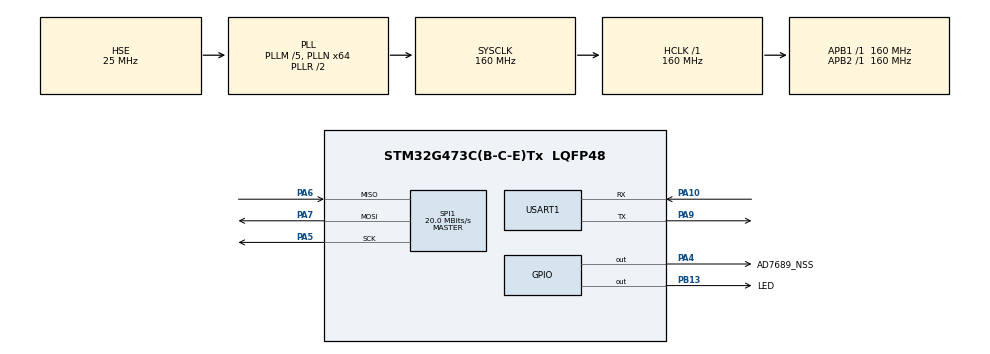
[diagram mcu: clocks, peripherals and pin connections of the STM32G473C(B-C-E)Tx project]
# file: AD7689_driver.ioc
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Mcu.Family=STM32G4
Mcu.Name=STM32G473C(B-C-E)Tx
Mcu.Package=LQFP48
NVIC.PriorityGroup=NVIC_PRIORITYGROUP_4
NVIC.SPI1_IRQn=true\:0\:0\:false\:false\:true\:true\:true\:true
NVIC.TIM6_DAC_IRQn=true\:0\:0\:false\:false\:true\:true\:true\:true
NVIC.USART1_IRQn=true\:0\:0\:false\:false\:true\:true\:true\:true
PA10.Mode=Asynchronous
PA10.Signal=USART1_RX
PA13.Mode=Serial_Wire
PA13.Signal=SYS_JTMS-SWDIO
PA14.Mode=Serial_Wire
PA14.Signal=SYS_JTCK-SWCLK
PA4.GPIO_Label=AD7689_NSS
PA4.GPIO_ModeDefaultOutputPP=GPIO_MODE_OUTPUT_PP
PA4.GPIO_PuPd=GPIO_PULLUP
PA4.GPIO_Speed=GPIO_SPEED_FREQ_VERY_HIGH
PA4.PinState=GPIO_PIN_SET
PA4.Signal=GPIO_Output
PA5.Mode=Full_Duplex_Master
PA5.Signal=SPI1_SCK
PA6.GPIO_PuPd=GPIO_PULLUP
PA6.Mode=Full_Duplex_Master
PA6.Signal=SPI1_MISO
PA7.GPIO_PuPd=GPIO_PULLUP
PA7.Mode=Full_Duplex_Master
PA7.Signal=SPI1_MOSI
PA9.Mode=Asynchronous
PA9.Signal=USART1_TX
PB13.GPIO_Label=LED
PB13.Signal=GPIO_Output
PF0-OSC_IN.Mode=HSE-External-Oscillator
PF0-OSC_IN.Signal=RCC_OSC_IN
PF1-OSC_OUT.Mode=HSE-External-Oscillator
PF1-OSC_OUT.Signal=RCC_OSC_OUT
ProjectManager.HeapSize=0x200
ProjectManager.StackSize=0x400
ProjectManager.TargetToolchain=STM32CubeIDE
RCC.ADC12Freq_Value=160000000
RCC.ADC345Freq_Value=160000000
RCC.AHBFreq_Value=160000000
RCC.APB1Freq_Value=160000000
RCC.APB1TimFreq_Value=160000000
RCC.APB2Freq_Value=160000000
RCC.APB2TimFreq_Value=160000000
RCC.CortexFreq_Value=160000000
RCC.EXTERNAL_CLOCK_VALUE=12288000
RCC.HCLKFreq_Value=160000000
RCC.HSE_VALUE=25000000
RCC.HSI48_VALUE=48000000
RCC.HSI_VALUE=16000000
RCC.LSE_VALUE=32768
RCC.PLLM=RCC_PLLM_DIV5
RCC.PLLN=64
RCC.PLLSourceVirtual=RCC_PLLSOURCE_HSE
RCC.SYSCLKFreq_VALUE=160000000
RCC.SYSCLKSource=RCC_SYSCLKSOURCE_PLLCLK
RCC.USBFreq_Value=160000000
RCC.VCOOutputFreq_Value=320000000
SPI1.BaudRatePrescaler=SPI_BAUDRATEPRESCALER_8
SPI1.CLKPhase=SPI_PHASE_1EDGE
SPI1.CLKPolarity=SPI_POLARITY_LOW
SPI1.CalculateBaudRate=20.0 MBits/s
SPI1.DataSize=SPI_DATASIZE_16BIT
SPI1.Direction=SPI_DIRECTION_2LINES
SPI1.FirstBit=SPI_FIRSTBIT_MSB
SPI1.Mode=SPI_MODE_MASTER
SPI1.NSSPMode=SPI_NSS_PULSE_ENABLE
SPI1.TIMode=SPI_TIMODE_DISABLE
SPI1.VirtualType=VM_MASTER
TIM6.PeriodNoDither=1000-1
TIM6.Prescaler=160-1
USART1.VirtualMode-Asynchronous=VM_ASYNC
VP_SYS_VS_DBSignals.Mode=DisableDeadBatterySignals
VP_TIM6_VS_ClockSourceINT.Mode=Enable_Timer
board=custom

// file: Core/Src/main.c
/* USER CODE BEGIN Header */
/**
  ******************************************************************************
  * @file           : main.c
  * @brief          : Main program body
  ******************************************************************************
  * @attention
  *
  * Copyright (c) 2026 STMicroelectronics.
  * All rights reserved.
  *
  * This software is licensed under terms that can be found in the LICENSE file
  * in the root directory of this software component.
  * If no LICENSE file comes with this software, it is provided AS-IS.
  *
  ******************************************************************************
  */
/* USER CODE END Header */
#include "main.h"
#include "spi.h"
#include "tim.h"
#include "usart.h"
#include "gpio.h"

/* USER CODE BEGIN Includes */
#include "../../../../AD7689/AD7689.h"
#include <stdio.h>
/* USER CODE END Includes */

/* USER CODE BEGIN PV */
AD7689_t chip = {
    .nss_mode = NSS_SOFTWARE,
    .spi = &hspi1,
    .nss_port = AD7689_NSS_GPIO_Port,
    .nss_pin = AD7689_NSS_Pin
};

HAL_StatusTypeDef status = HAL_OK;
uint8_t txbuff[2] = {0xE4, 0xF1}, rxbuff[16] = {0,};
uint16_t results[8] = {0,};
uint8_t uart_buff[16] = {0,};
/* USER CODE END PV */

void SystemClock_Config(void);
/* USER CODE BEGIN PFP */
void HeartbeatLED_Update();
/* USER CODE END PFP */

int main(void)
{

  /* MCU Configuration--------------------------------------------------------*/

  /* Reset of all peripherals, Initializes the Flash interface and the Systick. */
  HAL_Init();

  /* Configure the system clock */
  SystemClock_Config();

  /* Initialize all configured peripherals */
  MX_GPIO_Init();
  MX_SPI1_Init();
  MX_TIM6_Init();
  MX_USART1_UART_Init();
  /* USER CODE BEGIN 2 */
  HAL_Delay(10);
  AD7689_Init(&chip);
  HAL_TIM_Base_Start_IT(&htim6);

  /* USER CODE END 2 */

  /* Infinite loop */
  /* USER CODE BEGIN WHILE */
  while (1)
  {
	  HeartbeatLED_Update();
    /* USER CODE END WHILE */

  }
}

void SystemClock_Config(void)
{
  RCC_OscInitTypeDef RCC_OscInitStruct = {0};
  RCC_ClkInitTypeDef RCC_ClkInitStruct = {0};

  /** Configure the main internal regulator output voltage
  */
  HAL_PWREx_ControlVoltageScaling(PWR_REGULATOR_VOLTAGE_SCALE1_BOOST);

  /** Initializes the RCC Oscillators according to the specified parameters
  * in the RCC_OscInitTypeDef structure.
  */
  RCC_OscInitStruct.OscillatorType = RCC_OSCILLATORTYPE_HSE;
  RCC_OscInitStruct.HSEState = RCC_HSE_ON;
  RCC_OscInitStruct.PLL.PLLState = RCC_PLL_ON;
  RCC_OscInitStruct.PLL.PLLSource = RCC_PLLSOURCE_HSE;
  RCC_OscInitStruct.PLL.PLLM = RCC_PLLM_DIV5;
  RCC_OscInitStruct.PLL.PLLN = 64;
  RCC_OscInitStruct.PLL.PLLP = RCC_PLLP_DIV2;
  RCC_OscInitStruct.PLL.PLLQ = RCC_PLLQ_DIV2;
  RCC_OscInitStruct.PLL.PLLR = RCC_PLLR_DIV2;
  if (HAL_RCC_OscConfig(&RCC_OscInitStruct) != HAL_OK)
  {
    Error_Handler();
  }

  /** Initializes the CPU, AHB and APB buses clocks
  */
  RCC_ClkInitStruct.ClockType = RCC_CLOCKTYPE_HCLK|RCC_CLOCKTYPE_SYSCLK
                              |RCC_CLOCKTYPE_PCLK1|RCC_CLOCKTYPE_PCLK2;
  RCC_ClkInitStruct.SYSCLKSource = RCC_SYSCLKSOURCE_PLLCLK;
  RCC_ClkInitStruct.AHBCLKDivider = RCC_SYSCLK_DIV1;
  RCC_ClkInitStruct.APB1CLKDivider = RCC_HCLK_DIV1;
  RCC_ClkInitStruct.APB2CLKDivider = RCC_HCLK_DIV1;

  if (HAL_RCC_ClockConfig(&RCC_ClkInitStruct, FLASH_LATENCY_4) != HAL_OK)
  {
    Error_Handler();
  }
}

/* USER CODE BEGIN 4 */
void HeartbeatLED_Update()
{
    static uint32_t heartbeat_ticks = 0;
    static uint32_t heartbear_delta = 250;

    if (heartbeat_ticks + heartbear_delta < HAL_GetTick())
    {
        HAL_GPIO_TogglePin(LED_GPIO_Port, LED_Pin);
        heartbeat_ticks += heartbear_delta;
    }
}

void HAL_TIM_PeriodElapsedCallback(TIM_HandleTypeDef *htim)
{
#if 0
    static uint8_t counter = 0;
    status = AD7689_ReadSingle(&chip, counter);
    counter += 1;
    counter %= 8;
#else
    status = AD7689_ReadCircular(&chip);
#endif
	__HAL_TIM_ENABLE_IT(&htim6, TIM_IT_UPDATE);
}

void HAL_UART_TxCpltCallback(UART_HandleTypeDef *huart)
{
}
/* USER CODE END 4 */

void Error_Handler(void)
{
  __disable_irq();
  while (1)
  {
  }
}
